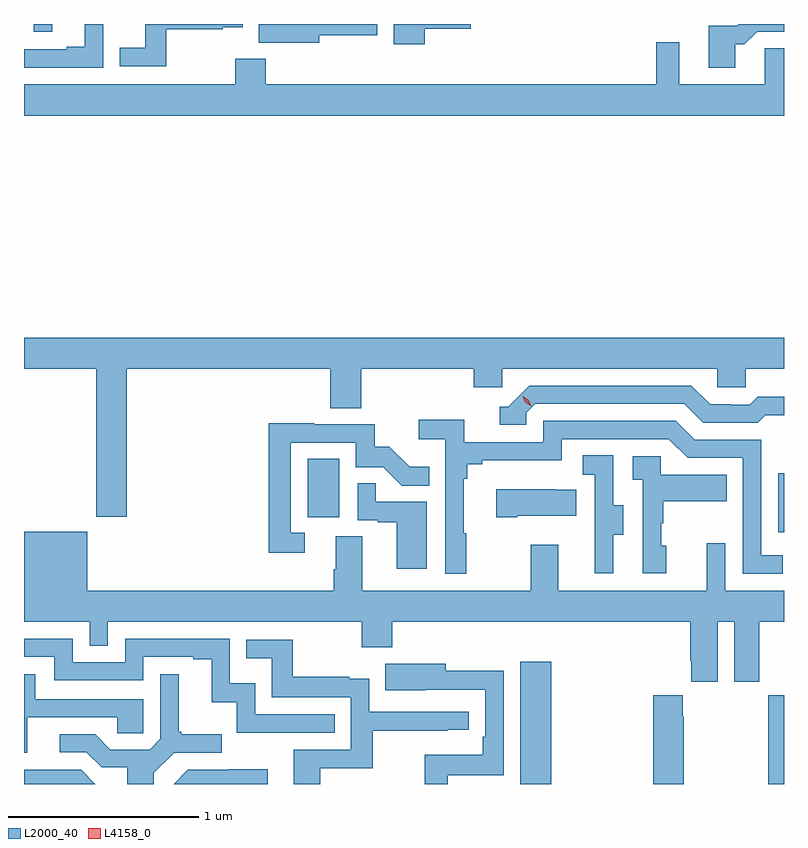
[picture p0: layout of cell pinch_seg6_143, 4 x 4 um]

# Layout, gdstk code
import gdstk
lib = gdstk.Library(unit=1e-6, precision=1e-09)
def R(c, l, rs):  # rectangles x0, y0, x1, y1
    for r in rs: c.add(gdstk.rectangle(r[:2], r[2:], *l))
def P(c, l, *ps):  # polygons
    for p in ps: c.add(gdstk.Polygon(p, *l))
L2000_40 = (2000, 40)
L4158_0 = (4158, 0)

pinch_seg6_143 = lib.new_cell('pinch_seg6_143')
R(pinch_seg6_143, L2000_40, [(975.407,917.178,975.568,917.821), (976.711,917.178,976.794,917.644), (976.764,918.504,976.794,918.814), (974.288,918.582,974.452,918.889), (972.846,921.138,972.943,921.178)])
P(pinch_seg6_143, L2000_40, [(973.543,921.15),(973.841,921.15),(973.841,921.161),(973.944,921.161),(973.944,921.178),(973.432,921.178),(973.432,921.052),(973.297,921.052),(973.297,920.955),(973.543,920.955)],
  [(973.212,921.178),(973.115,921.178),(973.115,921.058),(973.019,921.058),(973.019,921.045),(972.794,921.045),(972.794,920.949),(973.212,920.949)],
  [(974.902,921.154),(975.145,921.154),(975.145,921.178),(974.741,921.178),(974.741,921.072),(974.902,921.072)],
  [(976.537,921.071),(976.586,921.071),(976.653,921.138),(976.794,921.138),(976.794,921.178),(976.555,921.178),(976.546,921.169),(976.397,921.169),(976.397,920.949),(976.537,920.949)],
  [(974.347,921.118),(974.652,921.118),(974.652,921.178),(974.029,921.178),(974.029,921.08),(974.347,921.08)],
  [(976.794,921.05),(976.692,921.05),(976.692,920.86),(976.243,920.86),(976.243,921.082),(976.122,921.082),(976.122,920.86),(974.066,920.86),(974.066,920.995),(973.906,920.995),(973.906,920.86),(972.794,920.86),(972.794,920.696),(976.794,920.696)],
  [(973.334,919.364),(974.405,919.364),(974.405,919.156),(974.57,919.156),(974.57,919.364),(975.161,919.364),(975.161,919.266),(975.312,919.266),(975.312,919.364),(976.443,919.364),(976.443,919.266),(976.593,919.266),(976.593,919.364),(976.794,919.364),(976.794,919.528),(972.794,919.528),(972.794,919.364),(973.174,919.364),(973.174,918.585),(973.334,918.585)],
  [(975.438,919.131),(975.486,919.179),(976.269,919.179),(976.368,919.08),(976.657,919.08),(976.696,919.119),(976.794,919.119),(976.794,919.216),(976.657,919.216),(976.615,919.173),(976.512,919.173),(976.512,919.176),(976.405,919.176),(976.306,919.275),(975.453,919.275),(975.342,919.164),(975.299,919.164),(975.299,919.068),(975.438,919.068)],
  [(975.121,918.497),(975.109,918.497),(975.109,918.785),(975.128,918.785),(975.128,918.862),(975.205,918.862),(975.205,918.881),(975.624,918.881),(975.624,918.993),(976.188,918.993),(976.287,918.894),(976.578,918.894),(976.578,918.285),(976.787,918.285),(976.787,918.381),(976.674,918.381),(976.674,918.99),(976.324,918.99),(976.225,919.089),(975.528,919.089),(975.528,918.978),(975.11,918.978),(975.11,919.094),(974.871,919.094),(974.871,918.992),(975.012,918.992),(975.012,918.285),(975.121,918.285)],
  [(974.272,918.501),(974.199,918.501),(974.199,918.975),(974.541,918.975),(974.541,918.846),(974.685,918.846),(974.783,918.748),(974.927,918.748),(974.927,918.847),(974.823,918.847),(974.716,918.954),(974.64,918.954),(974.64,919.071),(974.321,919.071),(974.321,919.076),(974.083,919.076),(974.083,918.396),(974.272,918.396)],
  [(975.895,918.49),(975.949,918.49),(975.949,918.645),(975.894,918.645),(975.894,918.908),(975.735,918.908),(975.735,918.805),(975.798,918.805),(975.798,918.501),(975.797,918.501),(975.797,918.288),(975.895,918.288)],
  [(976.174,918.432),(976.149,918.432),(976.149,918.551),(976.159,918.551),(976.159,918.665),(976.493,918.665),(976.493,918.805),(976.146,918.805),(976.146,918.903),(975.999,918.903),(975.999,918.779),(976.05,918.779),(976.05,918.288),(976.174,918.288)],
  [(974.914,918.663),(974.645,918.663),(974.645,918.761),(974.55,918.761),(974.55,918.567),(974.657,918.567),(974.657,918.555),(974.756,918.555),(974.756,918.312),(974.914,918.312)],
  [(975.391,918.59),(975.701,918.59),(975.701,918.727),(975.593,918.727),(975.593,918.73),(975.279,918.73),(975.279,918.583),(975.391,918.583)],
  [(976.444,918.032),(976.532,918.032),(976.532,917.715),(976.663,917.715),(976.663,918.032),(976.794,918.032),(976.794,918.196),(976.485,918.196),(976.485,918.445),(976.388,918.445),(976.388,918.196),(975.607,918.196),(975.607,918.436),(975.46,918.436),(975.46,918.196),(974.575,918.196),(974.575,918.482),(974.435,918.482),(974.435,918.308),(974.423,918.308),(974.423,918.196),(973.126,918.196),(973.126,918.505),(972.794,918.505),(972.794,918.032),(973.14,918.032),(973.14,917.905),(973.236,917.905),(973.236,918.032),(974.572,918.032),(974.572,917.897),(974.732,917.897),(974.732,918.032),(976.301,918.032),(976.301,917.827),(976.307,917.827),(976.307,917.715),(976.444,917.715)],
  [(974.429,917.544),(974.01,917.544),(974.01,917.707),(973.878,917.707),(973.878,917.943),(973.326,917.943),(973.326,917.82),(973.05,917.82),(973.05,917.943),(972.794,917.943),(972.794,917.847),(972.954,917.847),(972.954,917.724),(973.422,917.724),(973.422,917.847),(973.685,917.847),(973.685,917.835),(973.781,917.835),(973.781,917.609),(973.914,917.609),(973.914,917.448),(974.429,917.448)],
  [(974.353,917.262),(974.63,917.262),(974.63,917.458),(975.023,917.458),(975.023,917.463),(975.136,917.463),(975.136,917.559),(974.61,917.559),(974.61,917.731),(974.507,917.731),(974.507,917.743),(974.209,917.743),(974.209,917.937),(973.963,917.937),(973.963,917.84),(974.098,917.84),(974.098,917.634),(974.514,917.634),(974.514,917.358),(974.213,917.358),(974.213,917.178),(974.353,917.178)],
  [(975.025,917.223),(975.318,917.223),(975.318,917.774),(975.013,917.774),(975.013,917.812),(974.695,917.812),(974.695,917.672),(974.909,917.672),(974.909,917.673),(975.222,917.673),(975.222,917.428),(975.209,917.428),(975.209,917.332),(974.904,917.332),(974.904,917.178),(975.025,917.178)],
  [(973.477,917.236),(973.584,917.343),(973.834,917.343),(973.834,917.44),(973.621,917.44),(973.621,917.452),(973.609,917.452),(973.609,917.755),(973.512,917.755),(973.512,917.415),(973.455,917.358),(973.249,917.358),(973.168,917.439),(972.981,917.439),(972.981,917.346),(973.122,917.346),(973.202,917.266),(973.337,917.266),(973.337,917.178),(973.477,917.178)],
  [(972.811,917.529),(973.285,917.529),(973.285,917.445),(973.422,917.445),(973.422,917.625),(972.853,917.625),(972.853,917.755),(972.794,917.755),(972.794,917.343),(972.811,917.343)],
  [(976.266,917.531),(976.261,917.531),(976.261,917.644),(976.106,917.644),(976.106,917.178),(976.266,917.178)],
  [(974.077,917.255),(973.872,917.255),(973.872,917.253),(973.656,917.253),(973.581,917.178),(974.077,917.178)],
  [(973.095,917.253),(972.794,917.253),(972.794,917.178),(973.17,917.178)])
P(pinch_seg6_143, L4158_0, [(975.464,919.167),(975.433,919.186),(975.418,919.219),(975.418,919.219),(975.418,919.219),(975.448,919.2),(975.464,919.167),(975.464,919.167)])

lib.write_gds('pinch_seg6_143.gds')
